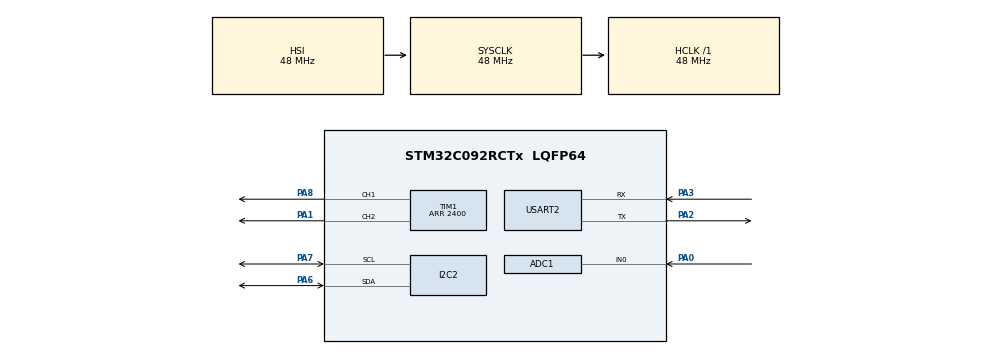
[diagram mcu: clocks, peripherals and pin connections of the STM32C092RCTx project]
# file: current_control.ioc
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ADC1.NbrOfConversionFlag=0
ADC1.SelectedChannel=ADC_CHANNEL_0
ADC1.master=1
I2C2.Timing=0x10805D88
Mcu.Family=STM32C0
Mcu.Name=STM32C092RCTx
Mcu.Package=LQFP64
NUCLEO-C092RC.BUTTON=1
NUCLEO-C092RC.LD1=true
NUCLEO-C092RC.LD2=true
NUCLEO-C092RC.VCP=false
NVIC.EXTI4_15_IRQn=true\:0\:0\:false\:false\:true\:false\:true\:true
NVIC.TIM2_IRQn=true\:0\:0\:false\:false\:true\:true\:true\:true
PA0.Mode=IN0
PA0.Signal=ADC1_IN0
PA1.Signal=S_TIM1_CH2
PA13.GPIO_Label=SWDIO
PA13.Signal=DEBUG_SWDIO
PA14-BOOT0.GPIO_Label=SWCLK
PA14-BOOT0.Signal=DEBUG_SWCLK
PA2.Mode=Asynchronous
PA2.Signal=USART2_TX
PA3.Mode=Asynchronous
PA3.Signal=USART2_RX
PA6.Mode=I2C
PA6.Signal=I2C2_SDA
PA7.Mode=I2C
PA7.Signal=I2C2_SCL
PA8.Signal=S_TIM1_CH1
PC14-OSCX_IN(PC14).GPIO_Label=OSCX_IN
PC14-OSCX_IN(PC14).Signal=RCC_OSCX_IN
PC15-OSCX_OUT(PC15).GPIO_Label=OSCX_OUT
PC15-OSCX_OUT(PC15).Signal=RCC_OSCX_OUT
PF0-OSC_IN(PF0).GPIO_Label=OSC_IN
PF0-OSC_IN(PF0).Signal=RCC_OSC_IN
PF1-OSC_OUT(PF1).GPIO_Label=OSC_OUT
PF1-OSC_OUT(PF1).Signal=RCC_OSC_OUT
ProjectManager.HeapSize=0x200
ProjectManager.StackSize=0x400
ProjectManager.TargetToolchain=STM32CubeIDE
RCC.ADCFreq_Value=48000000
RCC.AHBFreq_Value=48000000
RCC.CortexFreq_Value=48000000
RCC.EXTERNAL_CLOCK_VALUE=12288000
RCC.HCLKFreq_Value=48000000
RCC.HSE_VALUE=8000000
RCC.HSISYSCLKDivider=RCC_HSI_DIV1
RCC.HSI_VALUE=48000000
RCC.LSE_VALUE=32768
RCC.SYSCLKFreq_VALUE=48000000
SH.S_TIM1_CH1.0=TIM1_CH1,PWM Generation1 CH1
SH.S_TIM1_CH2.0=TIM1_CH2,PWM Generation2 CH2
TIM1.Channel-PWM\ Generation1\ CH1=TIM_CHANNEL_1
TIM1.Channel-PWM\ Generation2\ CH2=TIM_CHANNEL_2
TIM1.Period=2400
TIM2.Period=48000
USART2.VirtualMode-Asynchronous=VM_ASYNC
VP_NUCLEO-C092RC_VS_BSP_COMMON.Mode=COMMON
VP_TIM2_VS_ClockSourceINT.Mode=Internal
board=NUCLEO-C092RC

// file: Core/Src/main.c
/* USER CODE BEGIN Header */
/**
  ******************************************************************************
  * @file           : main.c
  * @brief          : Main program body
  ******************************************************************************
  * @attention
  *
  * Copyright (c) 2026 STMicroelectronics.
  * All rights reserved.
  *
  * This software is licensed under terms that can be found in the LICENSE file
  * in the root directory of this software component.
  * If no LICENSE file comes with this software, it is provided AS-IS.
  *
  ******************************************************************************
  */
/* USER CODE END Header */
#include "main.h"

/* USER CODE BEGIN Includes */
#include <stdio.h>
#include <math.h>
#include <stdlib.h>
/* USER CODE END Includes */

/* USER CODE BEGIN PTD */
typedef enum {
  STATE_IDLE,
  STATE_ITEST
} ControlState;
/* USER CODE END PTD */

/* USER CODE BEGIN PD */
#define ADC_MIN 350
#define ADC_MAX 4050

#define INA219_ADDR            0x40
#define INA219_REG_CONFIG      0x00
#define INA219_REG_CURRENT     0x04
#define INA219_REG_CALIBRATION 0x05

#define LOG_SIZE 400

// control gains
#define KP_CURRENT      -0.7f
#define KI_CURRENT      0.5f
/* USER CODE END PD */

ADC_HandleTypeDef hadc1;

I2C_HandleTypeDef hi2c2;

TIM_HandleTypeDef htim1;
TIM_HandleTypeDef htim2;

UART_HandleTypeDef huart2;

/* USER CODE BEGIN PV */
volatile int desired_current = 300;
volatile float error_integral = 0;
volatile int log_i = 0;

// enum type
volatile ControlState control_state = STATE_IDLE;

// storage logs
volatile int log_index[LOG_SIZE];
volatile int log_desired[LOG_SIZE];
volatile int log_actual[LOG_SIZE];
/* USER CODE END PV */

void SystemClock_Config(void);
static void MX_GPIO_Init(void);
static void MX_ADC1_Init(void);
static void MX_I2C2_Init(void);
static void MX_TIM1_Init(void);
static void MX_TIM2_Init(void);
static void MX_USART2_UART_Init(void);

/* USER CODE BEGIN PFP */
uint32_t readADC(void);
void init_ina219(void);
void writeINA219(int reg, int value);
signed short readINA219(unsigned char reg);
float read_ina219(void);
void motor_off(void);
void motor_forward(int pwm);
void motor_reverse(int pwm);
void setPWM(int8_t duty_cycle);
/* USER CODE END PFP */

/* USER CODE BEGIN 0 */
int __io_putchar(int ch) {
  HAL_UART_Transmit(&huart2, (uint8_t *)&ch, 1, HAL_MAX_DELAY);
  return ch;
}
/* USER CODE END 0 */

int main(void)
{

  /* MCU Configuration--------------------------------------------------------*/

  /* Reset of all peripherals, Initializes the Flash interface and the Systick. */
  HAL_Init();

  /* Configure the system clock */
  SystemClock_Config();

  /* USER CODE BEGIN SysInit */

BSP_LED_Init(LED_GREEN);
BSP_LED_Init(LED_BLUE);
  /* USER CODE END SysInit */

  /* Initialize all configured peripherals */
  MX_GPIO_Init();
  MX_ADC1_Init();
  MX_I2C2_Init();
  MX_TIM1_Init();
  MX_TIM2_Init();
  MX_USART2_UART_Init();

  /* USER CODE BEGIN 2 */
  HAL_TIM_Base_Start_IT(&htim2);
  init_ina219();

  // set both channels high = motor off
  __HAL_TIM_SET_COMPARE(&htim1, TIM_CHANNEL_1, 2400);
  __HAL_TIM_SET_COMPARE(&htim1, TIM_CHANNEL_2, 2400);
  HAL_TIM_PWM_Start(&htim1, TIM_CHANNEL_1);
  HAL_TIM_PWM_Start(&htim1, TIM_CHANNEL_2);
  /* USER CODE END 2 */

    /* Initialize leds */
  // BSP_LED_Init(LED_GREEN);
  // BSP_LED_Init(LED_BLUE);

  /* Initialize USER push-button, will be used to trigger an interrupt each time it's pressed.*/
  BSP_PB_Init(BUTTON_USER, BUTTON_MODE_EXTI);

  /* USER CODE BEGIN WHILE */
  // uint8_t rx_byte = 0;

  // while (1)
  // {
  //   // check if a character has been received via UART (Non-blocking check)
  //   if (HAL_UART_Receive(&huart2, &rx_byte, 1, 10) == HAL_OK)
  //   {
  //     if (rx_byte == 'a' && state == 0)
  //     {
  //       // reset logging index and restore initial test condition
  //       printf("Starting experiment...\r\n"); // debug
  //       log_i = 0;
  //       desired_current = 300;
  //       integral = 0;

  //       // fire off the PI execution window in the 1kHz ISR
  //       state = 1;

  //       // wait block until the 400 sample cycle finishes and resets state to 0
  //       printf("Starting sample cycle...\r\n");
  //       while(state == 1)
  //       {
  //         BSP_LED_Toggle(LED_BLUE);
  //         HAL_Delay(10);
  //       }

  //       printf("printing data...\r\n");
  //       // dump gathered logs out of RAM via Serial using integer formats
  //       for (int i = 0; i < LOG_SIZE; i++)
  //       {
  //         printf("%d %d %d\r\n", log_index[i], log_desired[i], log_actual[i]);
  //       }
  //     }
  //   }

  //   // Standard heartbeat indicator
  //   BSP_LED_Toggle(LED_GREEN);
  //   HAL_Delay(200);

  //   // __HAL_TIM_SET_COMPARE(&htim1, TIM_CHANNEL_1, 100);
  //   // __HAL_TIM_SET_COMPARE(&htim1, TIM_CHANNEL_2, 2400);
  //   // HAL_Delay(500);

  //   // // spin forward at 50% for 500ms
  //   // __HAL_TIM_SET_COMPARE(&htim1, TIM_CHANNEL_1, 2400);
  //   // __HAL_TIM_SET_COMPARE(&htim1, TIM_CHANNEL_2, 1200);
  //   // HAL_Delay(500);

  //   // // motor off (both high)
  //   // __HAL_TIM_SET_COMPARE(&htim1, TIM_CHANNEL_1, 2400);
  //   // __HAL_TIM_SET_COMPARE(&htim1, TIM_CHANNEL_2, 2400);
  //   // HAL_Delay(200);

  //   // // spin backward at 50% for 500ms
  //   // __HAL_TIM_SET_COMPARE(&htim1, TIM_CHANNEL_1, 1200);
  //   // __HAL_TIM_SET_COMPARE(&htim1, TIM_CHANNEL_2, 2400);
  //   // HAL_Delay(500);

  //   // // motor off (both high)
  //   // __HAL_TIM_SET_COMPARE(&htim1, TIM_CHANNEL_1, 2400);
  //   // __HAL_TIM_SET_COMPARE(&htim1, TIM_CHANNEL_2, 2400);
  //   // HAL_Delay(200);

  uint8_t rx_byte = 0;

  while (1)
  {
    // check for incoming UART characters
    if (HAL_UART_Receive(&huart2, &rx_byte, 1, 10) == HAL_OK)
    {
      // trigger execution only if system is IDLE
      if (rx_byte == 'a' && control_state == STATE_IDLE)
      {
        log_i = 0;
        desired_current = 300;
        error_integral = 0;

        printf("Starting test...\r\n");

        // fire off the PI loop in the ISR
        control_state = STATE_ITEST;
      }
    }

    // Gated Data Dump: Triggers exactly once when the ISR switches control_state back to IDLE
    if (control_state == STATE_IDLE && log_i == LOG_SIZE)
    {
        printf("Experiment complete. Printing data arrays:\r\n");
        HAL_Delay(10); // Give the UART register room to clear

        for (int i = 0; i < LOG_SIZE; i++)
        {
          printf("%d %d %d\r\n", log_index[i], log_desired[i], log_actual[i]);

          // CRITICAL: Prevent serial buffers from drowning
          HAL_Delay(2);
        }

        printf("--- End of Transmission ---\r\n");
        log_i = 0; // Reset index so it doesn't print again continuously
    }

    // Standard background heartbeat indicator
    BSP_LED_Toggle(LED_GREEN);
    HAL_Delay(200);

    /* USER CODE END WHILE */

  }
}

void SystemClock_Config(void)
{
  RCC_OscInitTypeDef RCC_OscInitStruct = {0};
  RCC_ClkInitTypeDef RCC_ClkInitStruct = {0};

  __HAL_FLASH_SET_LATENCY(FLASH_LATENCY_1);

  /** Initializes the RCC Oscillators according to the specified parameters
  * in the RCC_OscInitTypeDef structure.
  */
  RCC_OscInitStruct.OscillatorType = RCC_OSCILLATORTYPE_HSI;
  RCC_OscInitStruct.HSIState = RCC_HSI_ON;
  RCC_OscInitStruct.HSIDiv = RCC_HSI_DIV1;
  RCC_OscInitStruct.HSICalibrationValue = RCC_HSICALIBRATION_DEFAULT;
  if (HAL_RCC_OscConfig(&RCC_OscInitStruct) != HAL_OK)
  {
    Error_Handler();
  }

  /** Initializes the CPU, AHB and APB buses clocks
  */
  RCC_ClkInitStruct.ClockType = RCC_CLOCKTYPE_HCLK|RCC_CLOCKTYPE_SYSCLK
                              |RCC_CLOCKTYPE_PCLK1;
  RCC_ClkInitStruct.SYSCLKSource = RCC_SYSCLKSOURCE_HSI;
  RCC_ClkInitStruct.SYSCLKDivider = RCC_SYSCLK_DIV1;
  RCC_ClkInitStruct.AHBCLKDivider = RCC_HCLK_DIV1;
  RCC_ClkInitStruct.APB1CLKDivider = RCC_APB1_DIV1;

  if (HAL_RCC_ClockConfig(&RCC_ClkInitStruct, FLASH_LATENCY_1) != HAL_OK)
  {
    Error_Handler();
  }
}

static void MX_ADC1_Init(void)
{

  ADC_ChannelConfTypeDef sConfig = {0};

  /** Configure the global features of the ADC (Clock, Resolution, Data Alignment and number of conversion)
  */
  hadc1.Instance = ADC1;
  hadc1.Init.ClockPrescaler = ADC_CLOCK_SYNC_PCLK_DIV2;
  hadc1.Init.Resolution = ADC_RESOLUTION_12B;
  hadc1.Init.DataAlign = ADC_DATAALIGN_RIGHT;
  hadc1.Init.ScanConvMode = ADC_SCAN_SEQ_FIXED;
  hadc1.Init.EOCSelection = ADC_EOC_SINGLE_CONV;
  hadc1.Init.LowPowerAutoWait = DISABLE;
  hadc1.Init.LowPowerAutoPowerOff = DISABLE;
  hadc1.Init.ContinuousConvMode = DISABLE;
  hadc1.Init.NbrOfConversion = 1;
  hadc1.Init.DiscontinuousConvMode = DISABLE;
  hadc1.Init.ExternalTrigConv = ADC_SOFTWARE_START;
  hadc1.Init.ExternalTrigConvEdge = ADC_EXTERNALTRIGCONVEDGE_NONE;
  hadc1.Init.DMAContinuousRequests = DISABLE;
  hadc1.Init.Overrun = ADC_OVR_DATA_PRESERVED;
  hadc1.Init.SamplingTimeCommon1 = ADC_SAMPLETIME_1CYCLE_5;
  hadc1.Init.OversamplingMode = DISABLE;
  hadc1.Init.TriggerFrequencyMode = ADC_TRIGGER_FREQ_HIGH;
  if (HAL_ADC_Init(&hadc1) != HAL_OK)
  {
    Error_Handler();
  }

  /** Configure Regular Channel
  */
  sConfig.Channel = ADC_CHANNEL_0;
  sConfig.Rank = ADC_RANK_CHANNEL_NUMBER;
  if (HAL_ADC_ConfigChannel(&hadc1, &sConfig) != HAL_OK)
  {
    Error_Handler();
  }

}

static void MX_I2C2_Init(void)
{

  hi2c2.Instance = I2C2;
  hi2c2.Init.Timing = 0x10805D88;
  hi2c2.Init.OwnAddress1 = 0;
  hi2c2.Init.AddressingMode = I2C_ADDRESSINGMODE_7BIT;
  hi2c2.Init.DualAddressMode = I2C_DUALADDRESS_DISABLE;
  hi2c2.Init.OwnAddress2 = 0;
  hi2c2.Init.OwnAddress2Masks = I2C_OA2_NOMASK;
  hi2c2.Init.GeneralCallMode = I2C_GENERALCALL_DISABLE;
  hi2c2.Init.NoStretchMode = I2C_NOSTRETCH_DISABLE;
  if (HAL_I2C_Init(&hi2c2) != HAL_OK)
  {
    Error_Handler();
  }

  /** Configure Analogue filter
  */
  if (HAL_I2CEx_ConfigAnalogFilter(&hi2c2, I2C_ANALOGFILTER_ENABLE) != HAL_OK)
  {
    Error_Handler();
  }

  /** Configure Digital filter
  */
  if (HAL_I2CEx_ConfigDigitalFilter(&hi2c2, 0) != HAL_OK)
  {
    Error_Handler();
  }

}

static void MX_TIM1_Init(void)
{

  TIM_MasterConfigTypeDef sMasterConfig = {0};
  TIM_OC_InitTypeDef sConfigOC = {0};
  TIM_BreakDeadTimeConfigTypeDef sBreakDeadTimeConfig = {0};

  htim1.Instance = TIM1;
  htim1.Init.Prescaler = 0;
  htim1.Init.CounterMode = TIM_COUNTERMODE_UP;
  htim1.Init.Period = 2400;
  htim1.Init.ClockDivision = TIM_CLOCKDIVISION_DIV1;
  htim1.Init.RepetitionCounter = 0;
  htim1.Init.AutoReloadPreload = TIM_AUTORELOAD_PRELOAD_DISABLE;
  if (HAL_TIM_PWM_Init(&htim1) != HAL_OK)
  {
    Error_Handler();
  }
  sMasterConfig.MasterOutputTrigger = TIM_TRGO_RESET;
  sMasterConfig.MasterOutputTrigger2 = TIM_TRGO2_RESET;
  sMasterConfig.MasterSlaveMode = TIM_MASTERSLAVEMODE_DISABLE;
  if (HAL_TIMEx_MasterConfigSynchronization(&htim1, &sMasterConfig) != HAL_OK)
  {
    Error_Handler();
  }
  sConfigOC.OCMode = TIM_OCMODE_PWM1;
  sConfigOC.Pulse = 0;
  sConfigOC.OCPolarity = TIM_OCPOLARITY_HIGH;
  sConfigOC.OCNPolarity = TIM_OCNPOLARITY_HIGH;
  sConfigOC.OCFastMode = TIM_OCFAST_DISABLE;
  sConfigOC.OCIdleState = TIM_OCIDLESTATE_RESET;
  sConfigOC.OCNIdleState = TIM_OCNIDLESTATE_RESET;
  if (HAL_TIM_PWM_ConfigChannel(&htim1, &sConfigOC, TIM_CHANNEL_1) != HAL_OK)
  {
    Error_Handler();
  }
  if (HAL_TIM_PWM_ConfigChannel(&htim1, &sConfigOC, TIM_CHANNEL_2) != HAL_OK)
  {
    Error_Handler();
  }
  sBreakDeadTimeConfig.OffStateRunMode = TIM_OSSR_DISABLE;
  sBreakDeadTimeConfig.OffStateIDLEMode = TIM_OSSI_DISABLE;
  sBreakDeadTimeConfig.LockLevel = TIM_LOCKLEVEL_OFF;
  sBreakDeadTimeConfig.DeadTime = 0;
  sBreakDeadTimeConfig.BreakState = TIM_BREAK_DISABLE;
  sBreakDeadTimeConfig.BreakPolarity = TIM_BREAKPOLARITY_HIGH;
  sBreakDeadTimeConfig.BreakFilter = 0;
  sBreakDeadTimeConfig.BreakAFMode = TIM_BREAK_AFMODE_INPUT;
  sBreakDeadTimeConfig.Break2State = TIM_BREAK2_DISABLE;
  sBreakDeadTimeConfig.Break2Polarity = TIM_BREAK2POLARITY_HIGH;
  sBreakDeadTimeConfig.Break2Filter = 0;
  sBreakDeadTimeConfig.Break2AFMode = TIM_BREAK_AFMODE_INPUT;
  sBreakDeadTimeConfig.AutomaticOutput = TIM_AUTOMATICOUTPUT_DISABLE;
  if (HAL_TIMEx_ConfigBreakDeadTime(&htim1, &sBreakDeadTimeConfig) != HAL_OK)
  {
    Error_Handler();
  }
  HAL_TIM_MspPostInit(&htim1);

}

static void MX_TIM2_Init(void)
{

  TIM_ClockConfigTypeDef sClockSourceConfig = {0};
  TIM_MasterConfigTypeDef sMasterConfig = {0};

  htim2.Instance = TIM2;
  htim2.Init.Prescaler = 0;
  htim2.Init.CounterMode = TIM_COUNTERMODE_UP;
  htim2.Init.Period = 48000;
  htim2.Init.ClockDivision = TIM_CLOCKDIVISION_DIV1;
  htim2.Init.AutoReloadPreload = TIM_AUTORELOAD_PRELOAD_DISABLE;
  if (HAL_TIM_Base_Init(&htim2) != HAL_OK)
  {
    Error_Handler();
  }
  sClockSourceConfig.ClockSource = TIM_CLOCKSOURCE_INTERNAL;
  if (HAL_TIM_ConfigClockSource(&htim2, &sClockSourceConfig) != HAL_OK)
  {
    Error_Handler();
  }
  sMasterConfig.MasterOutputTrigger = TIM_TRGO_RESET;
  sMasterConfig.MasterSlaveMode = TIM_MASTERSLAVEMODE_DISABLE;
  if (HAL_TIMEx_MasterConfigSynchronization(&htim2, &sMasterConfig) != HAL_OK)
  {
    Error_Handler();
  }

}

static void MX_USART2_UART_Init(void)
{

  huart2.Instance = USART2;
  huart2.Init.BaudRate = 115200;
  huart2.Init.WordLength = UART_WORDLENGTH_8B;
  huart2.Init.StopBits = UART_STOPBITS_1;
  huart2.Init.Parity = UART_PARITY_NONE;
  huart2.Init.Mode = UART_MODE_TX_RX;
  huart2.Init.HwFlowCtl = UART_HWCONTROL_NONE;
  huart2.Init.OverSampling = UART_OVERSAMPLING_16;
  huart2.Init.OneBitSampling = UART_ONE_BIT_SAMPLE_DISABLE;
  huart2.Init.ClockPrescaler = UART_PRESCALER_DIV1;
  huart2.AdvancedInit.AdvFeatureInit = UART_ADVFEATURE_NO_INIT;
  if (HAL_UART_Init(&huart2) != HAL_OK)
  {
    Error_Handler();
  }

}

static void MX_GPIO_Init(void)
{

  /* GPIO Ports Clock Enable */
  __HAL_RCC_GPIOC_CLK_ENABLE();
  __HAL_RCC_GPIOF_CLK_ENABLE();
  __HAL_RCC_GPIOA_CLK_ENABLE();

}

/* USER CODE BEGIN 4 */
uint32_t readADC() {
    uint32_t raw;
    HAL_ADC_Start(&hadc1);
    if (HAL_ADC_PollForConversion(&hadc1, 10) == HAL_OK) {
      raw = HAL_ADC_GetValue(&hadc1);
    } else {
      raw = 0;
    }
    HAL_ADC_Stop(&hadc1);
    return raw;
}

void HAL_TIM_PeriodElapsedCallback(TIM_HandleTypeDef *htim)
{
  if (htim == &htim2)
  {
    static int counter = 0;

    // state check
    if (control_state == STATE_ITEST)
    {
      counter++;

      // // safety check
      // uint32_t adc = readADC();
      // if(adc < ADC_MIN || adc > ADC_MAX)
      // {
      //   setPWM(0); // shut off motor
      //   control_state = STATE_IDLE;
      //   counter = 0;
      //   error_integral = 0;
      //   return;
      // }

      // read sensor
      // signed short current = readINA219(INA219_REG_CURRENT);
      signed short current = 120; // Fake 120mA sensor reading

      // PI control loop math
      float error = (float)desired_current - (float)current;
      error_integral += error;

      // anti-windup clamp (scaled for floating point current values)
      if(error_integral > 200.0f)  error_integral = 200.0f;
      if(error_integral < -200.0f) error_integral = -200.0f;

      // calculate percentage output (-100 to 100)
      float u = (KP_CURRENT * error) + (KI_CURRENT * error_integral);

      // pass directly to driver helper
      setPWM((int8_t)u);

      // data logging
      if(log_i < LOG_SIZE)
      {
        log_index[log_i]   = log_i;
        log_desired[log_i] = desired_current;
        log_actual[log_i]  = current;
        log_i++;
      }

      // alternating square-wave setpoint adjustments every 100ms
      if(counter % 100 == 0)
        desired_current = -desired_current;

      // test window finished (400 samples = 400ms)
      if(counter >= 400)
      {
        setPWM(0); // turn off motor
        control_state = STATE_IDLE; // signal main loop that data is ready
        counter = 0;
        error_integral = 0;
      }
    }
  }
}

// INA219 helper functions
void writeINA219(int reg, int value) {
  uint8_t buf[3];
  buf[0] = reg;
  buf[1] = value >> 8;
  buf[2] = value & 0xff;
  HAL_I2C_Master_Transmit(&hi2c2, INA219_ADDR << 1, buf, 3, 10);
}

signed short readINA219(unsigned char reg) {
  HAL_I2C_Master_Transmit(&hi2c2, INA219_ADDR << 1, &reg, 1, 10);
  uint8_t buffer[2];
  HAL_I2C_Master_Receive(&hi2c2, INA219_ADDR << 1, buffer, 2, 10);
  return (signed short)((buffer[0] << 8) | buffer[1]);
}

void init_ina219() {
  unsigned short ina219_calValue = 1024;
  unsigned short ina219_config = 0b0011000010001111;
  writeINA219(INA219_REG_CALIBRATION, ina219_calValue);
  writeINA219(INA219_REG_CONFIG, ina219_config);
}

float read_ina219() {
  signed short value = readINA219(INA219_REG_CURRENT);
  return value / 3.0f;
}
void setPWM(int8_t duty_cycle);
// pwm function
void setPWM(int8_t duty_cycle)
{
    if (duty_cycle > 100)  duty_cycle = 100;
    if (duty_cycle < -100) duty_cycle = -100;

    // calculate pull-down depth based on 2400 timer period
    uint32_t pull_down_depth = (uint32_t)((abs(duty_cycle) * 2400) / 100);
    uint32_t active_compare  = 2400 - pull_down_depth;

    if (duty_cycle > 0)
    {
        // forward
        __HAL_TIM_SET_COMPARE(&htim1, TIM_CHANNEL_1, 2400);
        __HAL_TIM_SET_COMPARE(&htim1, TIM_CHANNEL_2, active_compare);
    }
    else if (duty_cycle < 0)
    {
        // reverse
        __HAL_TIM_SET_COMPARE(&htim1, TIM_CHANNEL_1, active_compare);
        __HAL_TIM_SET_COMPARE(&htim1, TIM_CHANNEL_2, 2400);
    }
    else
    {
        // off (Brake) - both channels held high
        __HAL_TIM_SET_COMPARE(&htim1, TIM_CHANNEL_1, 2400);
        __HAL_TIM_SET_COMPARE(&htim1, TIM_CHANNEL_2, 2400);
    }
}
/* USER CODE END 4 */

void Error_Handler(void)
{
  __disable_irq();
  while (1)
  {
  }
}
